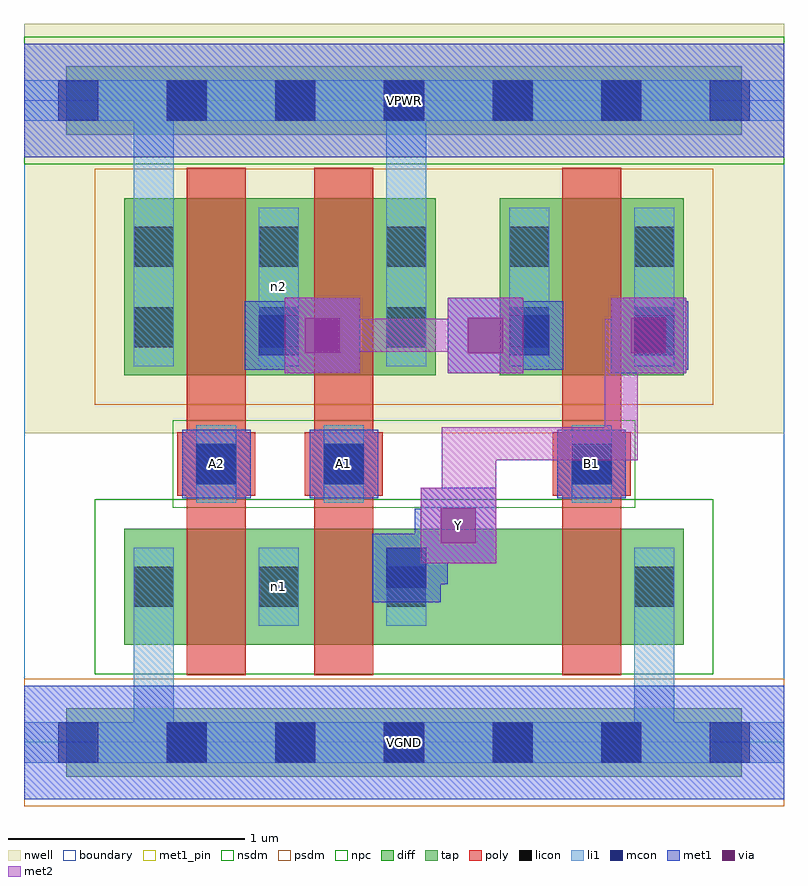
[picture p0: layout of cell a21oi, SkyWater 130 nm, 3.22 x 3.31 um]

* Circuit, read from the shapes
.subckt a21oi A1 A2 B1 VGND VPWR Y n1 n2
XM1 n1 A2 VGND VGND sky130_fd_pr__nfet_01v8 w=0.49 l=0.25
XM2 Y A1 n1 VGND sky130_fd_pr__nfet_01v8 w=0.49 l=0.25
XM3 VGND B1 Y VGND sky130_fd_pr__nfet_01v8 w=0.49 l=0.25
XM4 n2 A2 VPWR VPWR sky130_fd_pr__pfet_01v8 w=0.75 l=0.25
XM5 VPWR A1 n2 VPWR sky130_fd_pr__pfet_01v8 w=0.75 l=0.25
XM6 Y B1 n2 VPWR sky130_fd_pr__pfet_01v8 w=0.75 l=0.25
.ends

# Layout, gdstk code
import gdstk
lib = gdstk.Library(unit=1e-6, precision=1e-09)
def R(c, l, rs):  # rectangles x0, y0, x1, y1
    for r in rs: c.add(gdstk.rectangle(r[:2], r[2:], *l))
def A(c, l, x, y, w, h, nx, ny, dx, dy):  # array of equal rectangles
    R(c, l, [(x+i*dx, y+j*dy, x+i*dx+w, y+j*dy+h) for i in range(nx) for j in range(ny)])
nwell = (64, 20)
diff = (65, 20)
tap = (65, 44)
poly = (66, 20)
licon = (66, 44)
li1 = (67, 20)
mcon = (67, 44)
met1_pin = (68, 16)
met1 = (68, 20)
via = (68, 44)
met2 = (69, 20)
nsdm = (93, 44)
psdm = (94, 20)
npc = (95, 20)
boundary = (235, 4)

a21oi = lib.new_cell('a21oi')
R(a21oi, nwell, [(0,1.31,3.22,3.045)])
R(a21oi, diff, [(0.425,0.415,2.795,0.905), (0.425,1.555,1.745,2.305), (2.015,1.555,2.795,2.305)])
R(a21oi, tap, [(0.18,-0.145,3.04,0.145), (0.18,2.575,3.04,2.865)])
R(a21oi, poly, [(0.69,0.285,0.94,2.435), (1.23,0.285,1.48,2.435), (2.28,0.285,2.53,2.435), (0.65,1.045,0.98,1.315), (1.19,1.045,1.52,1.315), (2.24,1.045,2.57,1.315)])
A(a21oi, licon, 0.605, -0.085, 0.17, 0.17, 5, 2, 0.46, 2.72)
R(a21oi, licon, [(0.465,0.575,0.635,0.745), (0.995,0.575,1.165,0.745), (1.535,0.575,1.705,0.745), (2.585,0.575,2.755,0.745), (0.73,1.095,0.9,1.265), (1.27,1.095,1.44,1.265), (2.32,1.095,2.49,1.265), (0.465,1.675,0.635,1.845), (0.995,1.675,1.165,1.845), (1.535,1.675,1.705,1.845), (2.055,1.675,2.225,1.845), (2.585,1.675,2.755,1.845), (0.465,2.015,0.635,2.185), (0.995,2.015,1.165,2.185), (1.535,2.015,1.705,2.185), (2.055,2.015,2.225,2.185), (2.585,2.015,2.755,2.185)])
R(a21oi, li1, [(0,-0.085,3.22,0.085), (0.465,-0.085,0.635,0.825), (2.585,-0.085,2.755,0.825), (0.465,0.495,0.635,0.825), (0.995,0.495,1.165,0.825), (1.535,0.495,1.705,0.825), (2.585,0.495,2.755,0.825), (0.73,1.015,0.9,1.345), (1.27,1.015,1.44,1.345), (2.32,1.015,2.49,1.345), (0.465,1.595,0.635,2.265), (0.465,1.595,0.635,2.805), (0.995,1.595,1.165,2.265), (1.535,1.595,1.705,2.265), (1.535,1.595,1.705,2.805), (2.055,1.595,2.225,2.265), (2.585,1.595,2.755,2.265), (0,2.635,3.22,2.805)])
A(a21oi, mcon, 0.145, -0.085, 0.17, 0.17, 7, 2, 0.46, 2.72)
R(a21oi, mcon, [(1.535,0.655,1.705,0.825), (0.73,1.095,0.9,1.265), (1.27,1.095,1.44,1.265), (2.32,1.095,2.49,1.265), (0.995,1.64,1.165,1.81), (2.055,1.64,2.225,1.81), (2.585,1.64,2.755,1.81)])
R(a21oi, met1_pin, [(0,-0.24,3.22,0.24), (1.68,0.76,2,1.08), (0.67,1.035,0.96,1.325), (1.21,1.035,1.5,1.325), (2.26,1.035,2.55,1.325), (0,2.48,3.22,2.96)])
A(a21oi, met1, 1.105, 1.565, 0.32, 0.32, 3, 1, 0.69, 0)
R(a21oi, met1, [(0,-0.24,3.22,0.24), (1.475,0.595,1.765,0.885), (1.55,0.67,1.795,0.81), (1.655,0.67,1.795,0.99), (1.68,0.76,2,1.08), (1.655,0.85,1.91,0.99), (0.67,1.035,0.96,1.325), (1.21,1.035,1.5,1.325), (2.26,1.035,2.55,1.325), (0.935,1.58,1.225,1.87), (1.995,1.58,2.285,1.87), (2.525,1.58,2.815,1.87), (1.01,1.655,1.335,1.795), (1.885,1.655,2.21,1.795), (2.575,1.655,2.74,1.795), (0,2.48,3.22,2.96)])
A(a21oi, via, 1.19, 1.65, 0.15, 0.15, 3, 1, 0.69, 0)
R(a21oi, via, [(1.765,0.845,1.915,0.995)])
A(a21oi, met2, 1.105, 1.565, 0.32, 0.32, 3, 1, 0.69, 0)
R(a21oi, met2, [(1.68,0.76,2,1.08), (1.77,0.85,1.91,1.335), (1.77,1.08,2,1.195), (1.77,1.195,2.6,1.335), (2.46,1.195,2.6,1.795), (1.195,1.655,2.025,1.795), (2.46,1.655,2.715,1.795)])
R(a21oi, nsdm, [(0.3,0.29,2.92,1.03), (0,2.45,3.22,2.99)])
R(a21oi, psdm, [(0,-0.27,3.22,0.27), (0.3,1.43,2.92,2.43)])
R(a21oi, npc, [(0.63,0.995,2.59,1.365)])
R(a21oi, boundary, [(0,0,3.22,2.72)])
a21oi.add(gdstk.Label('n1', (1.08,0.66), layer=67, texttype=5))
a21oi.add(gdstk.Label('n2', (1.08,1.93), layer=67, texttype=5))
a21oi.add(gdstk.Label('A1', (1.355,1.18), layer=68, texttype=5))
a21oi.add(gdstk.Label('A2', (0.815,1.18), layer=68, texttype=5))
a21oi.add(gdstk.Label('B1', (2.405,1.18), layer=68, texttype=5))
a21oi.add(gdstk.Label('Y', (1.84,0.92), layer=68, texttype=5))
a21oi.add(gdstk.Label('VPWR', (1.61,2.72), layer=68, texttype=5))
a21oi.add(gdstk.Label('VGND', (1.61,0), layer=68, texttype=5))
a21oi.add(gdstk.Label('A1', (1.355,1.18), layer=68, texttype=16))
a21oi.add(gdstk.Label('A2', (0.815,1.18), layer=68, texttype=16))
a21oi.add(gdstk.Label('B1', (2.405,1.18), layer=68, texttype=16))
a21oi.add(gdstk.Label('Y', (1.84,0.92), layer=68, texttype=16))
a21oi.add(gdstk.Label('VPWR', (1.61,2.72), layer=68, texttype=16))
a21oi.add(gdstk.Label('VGND', (1.61,0), layer=68, texttype=16))

lib.write_gds('a21oi.gds')
